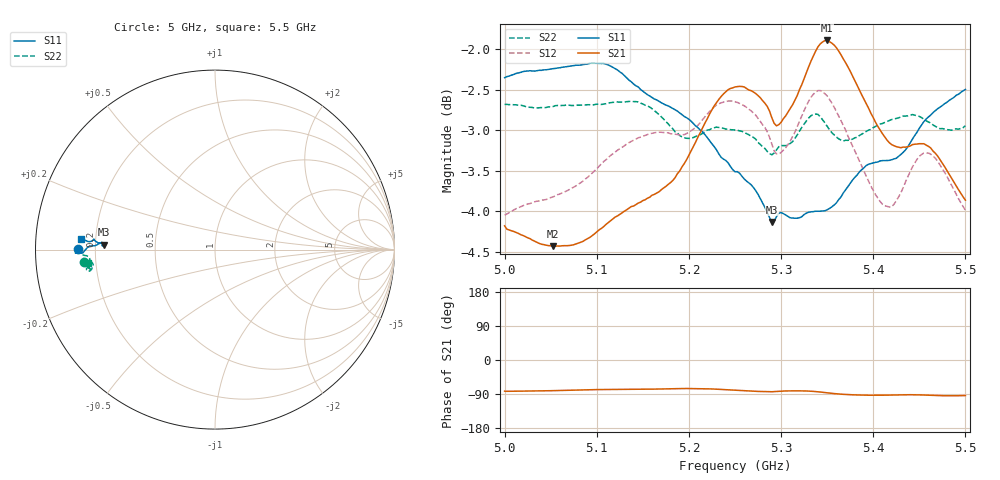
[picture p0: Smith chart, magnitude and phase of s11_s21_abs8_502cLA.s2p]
! MS46122B
! 1919307/90821646
! 5/25/2022 2:23:16 PM
! C:\USERS\PC_\DESKTOP\CARACTERIZACION\MEDICIONES\BANCHA ESTRECHA\5_55GHZ\S11_S21_ABS8_502CL.S2P
! CHANNEL.1
! TR.MEASUREMENT
! CORRECTED.DATA
# GHZ S RI R 50.0
! FREQ.GHZ  S11RE  S11IM  S21RE  S21IM  S12RE  S12IM  S22RE  S22IM
!; PortSelection: Port_12
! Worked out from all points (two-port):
!   201 points, 5 GHz to 5.5 GHz, reference 50 ohm
!   highest |S21| = -1.90 dB at 5.35 GHz (marker M1); lowest = -4.4 dB at 5.053 GHz (marker M2)
!   |S21| within 3 dB of the highest: start of sweep to end of sweep
!   lowest |S11| = -4.1 dB at 5.29 GHz (marker M3), VSWR 4.29, Z = 11.7 + j1.02 ohm
!   |S11| at or under -10 dB: nowhere
!   |S22| runs from -3.3 to -2.6 dB; largest |S21 - S12| = 0.08
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5  -0.7626 0.00363  0.083 -0.6127  0.1387 -0.6123  -0.731 -0.0696
5.0525  -0.7723 -0.0126  0.0952 -0.5931  0.1447 -0.6277  -0.7289 -0.0678
5.085  -0.7767 -0.0187  0.1175 -0.5933  0.1515 -0.641  -0.7315 -0.054
5.115  -0.775 -0.0194  0.1333 -0.6083  0.1517 -0.666  -0.7348 -0.042
5.1675  -0.7373 -0.0186  0.1504 -0.6311  0.1254 -0.6947  -0.723 -0.0331
5.195  -0.7218 -0.00102  0.1717 -0.6531  0.1188 -0.6935  -0.6987 -0.0492
5.2175  -0.7032 0.0167  0.1761 -0.6933  0.12 -0.7116  -0.7033 -0.0714
5.25  -0.6671 0.0212  0.1302 -0.7413  0.0797 -0.7327  -0.7049 -0.068
5.28  -0.6376 0.0358  0.0862 -0.7331  0.0444 -0.712  -0.688 -0.069
5.29  -0.6212 0.0268  0.0785 -0.7161  0.0408 -0.693  -0.6783 -0.086
5.2975  -0.6289 0.0214  0.0941 -0.7072  0.0573 -0.6822  -0.6848 -0.0962
5.315  -0.6242 0.0317  0.1107 -0.7303  0.0789 -0.7016  -0.6906 -0.1135
5.335  -0.6297 0.0383  0.0984 -0.7801  0.0578 -0.7427  -0.7151 -0.1133
5.35  -0.6312 0.0401  0.0476 -0.8025  0.0152 -0.743  -0.7052 -0.0969
5.365  -0.643 0.0377  -0.00226 -0.7877  -0.014 -0.7174  -0.6907 -0.1015
5.3775  -0.6583 0.0419  -0.0253 -0.7642  -0.0223 -0.6919  -0.6906 -0.108
5.4  -0.6737 0.0553  -0.0377 -0.7197  -0.0114 -0.6499  -0.703 -0.1031
5.4175  -0.6759 0.058  -0.0315 -0.6948  0.0187 -0.6347  -0.7119 -0.0904
5.44  -0.6937 0.045  -0.0198 -0.692  0.0459 -0.6657  -0.7193 -0.0746
5.46  -0.7197 0.0494  -0.036 -0.6909  0.0173 -0.6851  -0.7134 -0.0619
5.48  -0.7344 0.0556  -0.0499 -0.6667  -0.0102 -0.663  -0.7053 -0.067
5.5  -0.7477 0.0586  -0.044 -0.6396  -0.00491 -0.632  -0.7087 -0.0725
